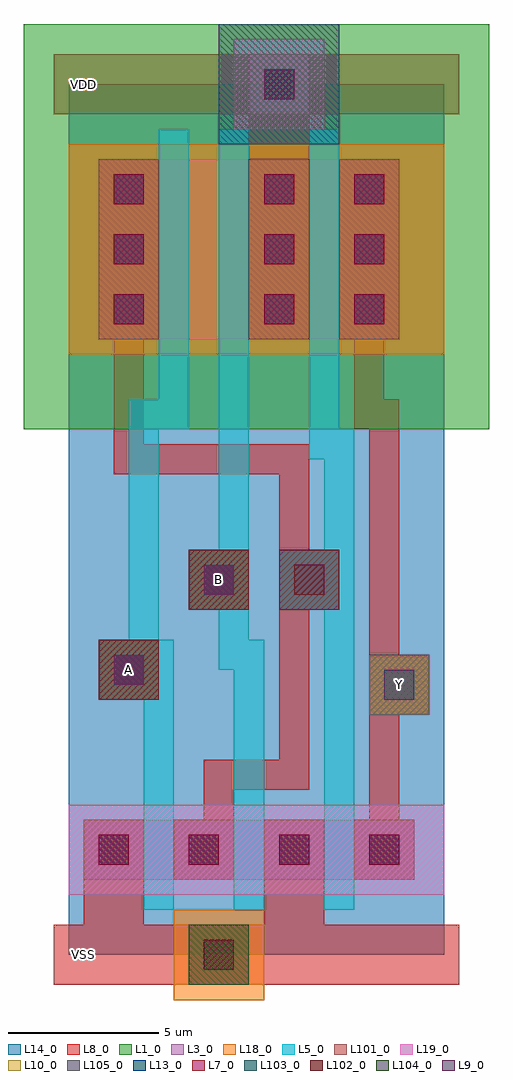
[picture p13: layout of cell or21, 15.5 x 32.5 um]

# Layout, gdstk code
import gdstk
lib = gdstk.Library(unit=1e-6, precision=1e-09)
def R(c, l, rs):  # rectangles x0, y0, x1, y1
    for r in rs: c.add(gdstk.rectangle(r[:2], r[2:], *l))
L1_0 = (1, 0)
L3_0 = (3, 0)
L5_0 = (5, 0)
L7_0 = (7, 0)
L8_0 = (8, 0)
L9_0 = (9, 0)
L10_0 = (10, 0)
L13_0 = (13, 0)
L14_0 = (14, 0)
L18_0 = (18, 0)
L19_0 = (19, 0)
L101_0 = (101, 0)
L102_0 = (102, 0)
L103_0 = (103, 0)
L104_0 = (104, 0)
L105_0 = (105, 0)

dcont = lib.new_cell('dcont')
R(dcont, L3_0, [(-1,-1,1,1)])
R(dcont, L7_0, [(-0.5,-0.5,0.5,0.5)])
R(dcont, L8_0, [(-1,-1,1,1)])
R(dcont, L13_0, [(-0.5,-0.5,0.5,0.5)])
R(dcont, L101_0, [(-1,-1,1,1)])
dcont.add(gdstk.Label('dcont', (0,0), layer=13, texttype=0))

via = lib.new_cell('Via')
R(via, L8_0, [(-1,-1,1,1)])
R(via, L9_0, [(-0.5,-0.5,0.5,0.5)])
R(via, L10_0, [(-1,-1,1,1)])
R(via, L13_0, [(-0.5,-0.5,0.5,0.5)])
R(via, L105_0, [(-1,-1,1,1)])
via.add(gdstk.Label('via', (0,0), layer=13, texttype=0))

pcont = lib.new_cell('pcont')
R(pcont, L5_0, [(-1,-1,1,1)])
R(pcont, L7_0, [(-0.5,-0.5,0.5,0.5)])
R(pcont, L8_0, [(-1,-1,1,1)])
R(pcont, L102_0, [(-1,-1,1,1)])
pcont.add(gdstk.Label('pcont', (0,0), layer=13, texttype=0))

psubcont = lib.new_cell('psubcont')
R(psubcont, L18_0, [(-1.5,-1.5,1.5,1.5)])
R(psubcont, L104_0, [(-1,-1,1,1)])
psubcont.add(gdstk.Reference(dcont, (0,0)))
psubcont.add(gdstk.Label('PScon', (0,0), layer=13, texttype=0))

nsubcont = lib.new_cell('nsubcont')
R(nsubcont, L1_0, [(-2,-2,2,2)])
R(nsubcont, L19_0, [(-1.5,-1.5,1.5,1.5)])
R(nsubcont, L103_0, [(-2,-2,2,2)])
nsubcont.add(gdstk.Reference(dcont, (0,0)))
nsubcont.add(gdstk.Label('NScont', (0,0), layer=13, texttype=0))

or21 = lib.new_cell('or21')
R(or21, L1_0, [(-1.5,17.5,14,31)])
R(or21, L3_0, [(0.5,2.5,11.5,4.5), (6.5,2.5,11.5,4.5), (1,20.5,11,26.5)])
R(or21, L8_0, [(-0.5,-1,13,1), (-0.5,-1,13,1), (10,8,12,10), (10,8,12,10), (1,8.5,3,10.5), (1,8.5,3,10.5), (4,11.5,6,13.5), (4,11.5,6,13.5), (-0.5,28,13,30), (-0.5,28,13,30)])
R(or21, L10_0, [(10,8,12,10), (10,8,12,10), (1,8.5,3,10.5), (1,8.5,3,10.5), (4,11.5,6,13.5), (4,11.5,6,13.5)])
R(or21, L14_0, [(0,0,12.5,29)])
R(or21, L18_0, [(0,20,12.5,27)])
R(or21, L19_0, [(0,2,12.5,5)])
R(or21, L105_0, [(10,8,12,10), (1,8.5,3,10.5), (4,11.5,6,13.5)])
or21.add(gdstk.FlexPath([(5.5,27),(5.5,10),(6,10),(6,2)], 1, ends="extended", simple_path=True, layer=5, datatype=0))  # L5_0
or21.add(gdstk.FlexPath([(3.5,27),(3.5,18),(2.5,18),(2.5,10),(3,10),(3,2)], 1, ends="extended", simple_path=True, layer=5, datatype=0))  # L5_0
or21.add(gdstk.FlexPath([(9,2),(9,17),(8.5,17),(8.5,27)], 1, ends="extended", simple_path=True, layer=5, datatype=0))  # L5_0
or21.add(gdstk.FlexPath([(1.5,1),(1.5,3.5)], 2, ends="extended", simple_path=True, layer=8, datatype=0))  # L8_0
or21.add(gdstk.FlexPath([(2,22.3),(2,25.5)], 1.4, ends="extended", simple_path=True, layer=8, datatype=0))  # L8_0
or21.add(gdstk.FlexPath([(5,3.5),(5,6),(7.5,6),(7.5,16.5),(2,16.5),(2,20.5)], 1, ends="extended", simple_path=True, layer=8, datatype=0))  # L8_0
or21.add(gdstk.FlexPath([(7,21.5),(7,28.5)], 2, ends="extended", simple_path=True, layer=8, datatype=0))  # L8_0
or21.add(gdstk.FlexPath([(7.5,1),(7.5,3.5)], 2, ends="extended", simple_path=True, layer=8, datatype=0))  # L8_0
or21.add(gdstk.FlexPath([(10,22.3),(10,25.5)], 1.4, ends="extended", simple_path=True, layer=8, datatype=0))  # L8_0
or21.add(gdstk.FlexPath([(10.5,3.5),(10.5,18),(10,18),(10,20.5)], 1, ends="extended", simple_path=True, layer=8, datatype=0))  # L8_0
or21.add(gdstk.Reference(dcont, (7,23.5)))
or21.add(gdstk.Reference(dcont, (1.5,3.5)))
or21.add(gdstk.Reference(via, (11,9)))
or21.add(gdstk.Reference(dcont, (7,21.5)))
or21.add(gdstk.Reference(dcont, (7.5,3.5)))
or21.add(gdstk.Reference(via, (2,9.5)))
or21.add(gdstk.Reference(dcont, (10.5,3.5)))
or21.add(gdstk.Reference(pcont, (8,12.5)))
or21.add(gdstk.Reference(dcont, (2,21.5)))
or21.add(gdstk.Reference(dcont, (4.5,3.5)))
or21.add(gdstk.Reference(pcont, (2,9.5)))
or21.add(gdstk.Reference(dcont, (10,23.5)))
or21.add(gdstk.Reference(dcont, (2,23.5)))
or21.add(gdstk.Reference(dcont, (10,21.5)))
or21.add(gdstk.Reference(dcont, (2,25.5)))
or21.add(gdstk.Reference(psubcont, (5,0)))
or21.add(gdstk.Reference(via, (5,12.5)))
or21.add(gdstk.Reference(pcont, (5,12.5)))
or21.add(gdstk.Reference(dcont, (7,25.5)))
or21.add(gdstk.Reference(dcont, (10,25.5)))
or21.add(gdstk.Reference(nsubcont, (7,29)))
or21.add(gdstk.Label('VDD', (0.5,29), layer=8, texttype=0))
or21.add(gdstk.Label('VSS', (0.5,0), layer=8, texttype=0))
or21.add(gdstk.Label('Y', (11,9), layer=10, texttype=0))
or21.add(gdstk.Label('B', (5,12.5), layer=10, texttype=0))
or21.add(gdstk.Label('A', (2,9.5), layer=10, texttype=0))

lib.write_gds('or21.gds')
